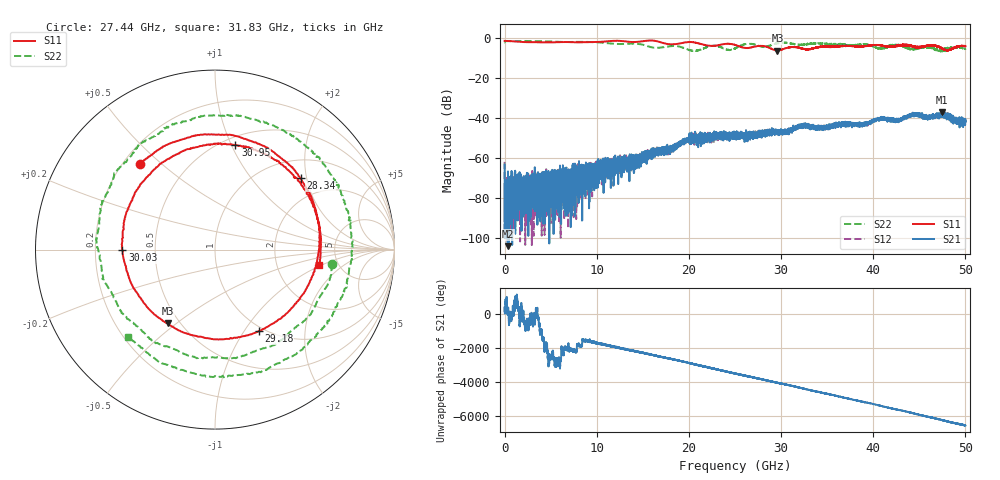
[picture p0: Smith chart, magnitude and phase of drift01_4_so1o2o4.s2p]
!Created with skrf (http://scikit-rf.org).
# Hz S RI R 50.0
!freq ReS11 ImS11 ReS21 ImS21 ReS12 ImS12 ReS22 ImS22
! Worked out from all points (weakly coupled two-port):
!   10001 points, 300 kHz to 50 GHz, reference 50 ohm
!   highest |S21| = -36.99 dB at 47.45 GHz (marker M1); lowest = -103.9 dB at 340.3 MHz (marker M2)
!   lowest |S11| = -6.2 dB at 29.61 GHz (marker M3), VSWR 2.91, Z = 21.6 - j23.3 ohm
!   |S11| at or under -10 dB: nowhere
!   |S22| runs from -6.6 to -1.4 dB; largest |S21 - S12| = 0.0034
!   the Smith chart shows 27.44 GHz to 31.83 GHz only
!   S11 on the Smith chart (normalised r, x): 27.44 GHz: 0.27, +0.43; 28.34 GHz: 1.43, +1.84; 29.18 GHz: 0.94, -1.17; 30.03 GHz: 0.32, -0.00; 30.95 GHz: 0.58, +1.04; 31.83 GHz: 3.54, -0.95
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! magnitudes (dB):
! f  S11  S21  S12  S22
! 300 kHz  -1.3  -63.2  -61.8  -2.1
! 245.3 MHz  -1.4  -100.1  -82.3  -1.4
! 340.3 MHz  -1.4  -103.9  -75.3  -1.4
! 5.035 GHz  -2.1  -77.8  -75.4  -1.6
! 8.335 GHz  -2.0  -64.6  -67.8  -1.8
! 16.67 GHz  -1.7  -56.1  -56.8  -4.8
! 18.62 GHz  -2.9  -54.5  -53.8  -3.9
! 20.59 GHz  -2.1  -48.8  -53.2  -6.3
! 22.59 GHz  -3.9  -48.6  -47.6  -3.8
! 25 GHz  -3.3  -49.7  -49.0  -5.1
! 26.2 GHz  -4.9  -49.7  -49.2  -2.9
! 27.44 GHz  -3.9  -47.5  -49.5  -3.7
! 28.34 GHz  -4.2  -46.9  -47.1  -4.2
! 29.18 GHz  -5.8  -46.3  -46.6  -3.2
! 29.61 GHz  -6.2  -46.1  -46.9  -2.5
! 30.03 GHz  -5.7  -46.9  -46.9  -2.3
! 30.95 GHz  -4.5  -45.8  -45.5  -2.5
! 31.83 GHz  -4.7  -44.9  -44.2  -3.2
! 33.34 GHz  -5.2  -44.7  -43.9  -2.6
! 41.67 GHz  -4.2  -40.4  -40.4  -4.2
! 47.45 GHz  -5.1  -37.0  -38.2  -5.8
! 50 GHz  -4.0  -41.5  -42.2  -5.4
